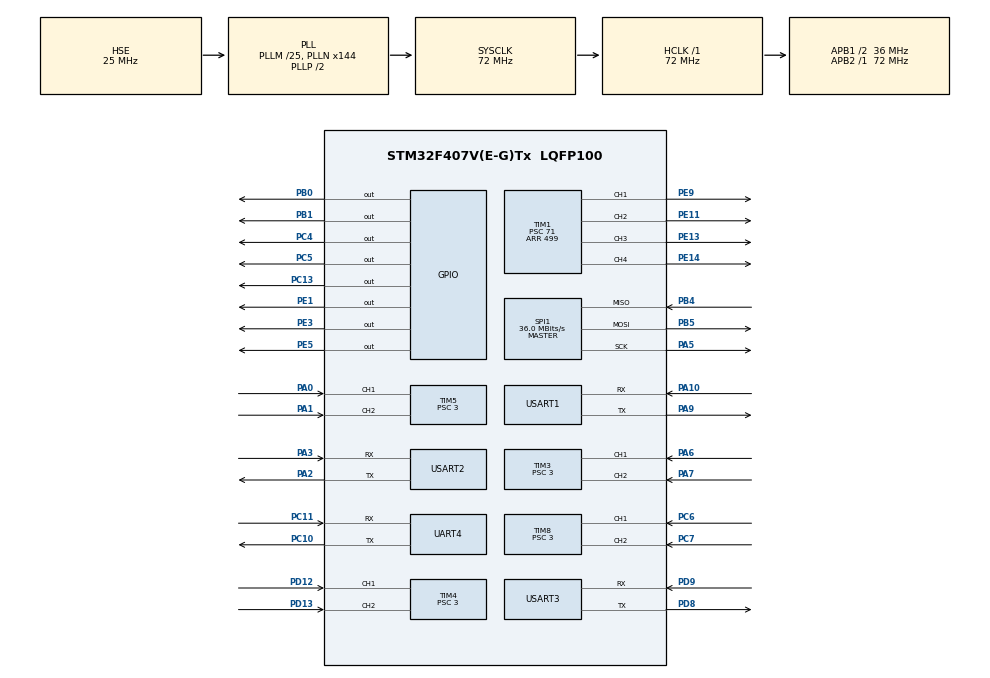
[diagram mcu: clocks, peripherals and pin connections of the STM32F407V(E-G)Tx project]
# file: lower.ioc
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Mcu.Family=STM32F4
Mcu.Name=STM32F407V(E-G)Tx
Mcu.Package=LQFP100
NVIC.PriorityGroup=NVIC_PRIORITYGROUP_4
NVIC.TIM7_IRQn=true\:0\:0\:false\:false\:true\:true\:true
NVIC.USART1_IRQn=true\:0\:0\:false\:false\:true\:true\:true
PA0-WKUP.Signal=S_TIM5_CH1
PA1.Signal=S_TIM5_CH2
PA10.Mode=Asynchronous
PA10.Signal=USART1_RX
PA13.Mode=Trace_Asynchronous_SW
PA13.Signal=SYS_JTMS-SWDIO
PA14.Mode=Trace_Asynchronous_SW
PA14.Signal=SYS_JTCK-SWCLK
PA2.Mode=Asynchronous
PA2.Signal=USART2_TX
PA3.Mode=Asynchronous
PA3.Signal=USART2_RX
PA5.Mode=Full_Duplex_Master
PA5.Signal=SPI1_SCK
PA6.Signal=S_TIM3_CH1
PA7.Signal=S_TIM3_CH2
PA9.Mode=Asynchronous
PA9.Signal=USART1_TX
PB0.Signal=GPIO_Output
PB1.Signal=GPIO_Output
PB3.Mode=Trace_Asynchronous_SW
PB3.Signal=SYS_JTDO-SWO
PB4.Mode=Full_Duplex_Master
PB4.Signal=SPI1_MISO
PB5.Mode=Full_Duplex_Master
PB5.Signal=SPI1_MOSI
PC10.Mode=Asynchronous
PC10.Signal=UART4_TX
PC11.Mode=Asynchronous
PC11.Signal=UART4_RX
PC13-ANTI_TAMP.Signal=GPIO_Output
PC14-OSC32_IN.Mode=LSE-External-Oscillator
PC14-OSC32_IN.Signal=RCC_OSC32_IN
PC15-OSC32_OUT.Mode=LSE-External-Oscillator
PC15-OSC32_OUT.Signal=RCC_OSC32_OUT
PC4.Signal=GPIO_Output
PC5.Signal=GPIO_Output
PC6.Signal=S_TIM8_CH1
PC7.Signal=S_TIM8_CH2
PD12.Signal=S_TIM4_CH1
PD13.Signal=S_TIM4_CH2
PD8.Mode=Asynchronous
PD8.Signal=USART3_TX
PD9.Mode=Asynchronous
PD9.Signal=USART3_RX
PE1.Signal=GPIO_Output
PE11.Signal=S_TIM1_CH2
PE13.Signal=S_TIM1_CH3
PE14.Signal=S_TIM1_CH4
PE3.Signal=GPIO_Output
PE5.Signal=GPIO_Output
PE9.Signal=S_TIM1_CH1
PH0-OSC_IN.Mode=HSE-External-Oscillator
PH0-OSC_IN.Signal=RCC_OSC_IN
PH1-OSC_OUT.Mode=HSE-External-Oscillator
PH1-OSC_OUT.Signal=RCC_OSC_OUT
ProjectManager.HeapSize=0x200
ProjectManager.StackSize=0x400
ProjectManager.TargetToolchain=MDK-ARM V5
RCC.48MHZClocksFreq_Value=36000000
RCC.AHBFreq_Value=72000000
RCC.APB1CLKDivider=RCC_HCLK_DIV2
RCC.APB1Freq_Value=36000000
RCC.APB1TimFreq_Value=72000000
RCC.APB2Freq_Value=72000000
RCC.APB2TimFreq_Value=72000000
RCC.CortexFreq_Value=72000000
RCC.HCLKFreq_Value=72000000
RCC.HSE_VALUE=25000000
RCC.HSI_VALUE=16000000
RCC.PLLM=25
RCC.PLLN=144
RCC.PLLSourceVirtual=RCC_PLLSOURCE_HSE
RCC.SYSCLKFreq_VALUE=72000000
RCC.SYSCLKSource=RCC_SYSCLKSOURCE_PLLCLK
RCC.VCOOutputFreq_Value=144000000
SH.S_TIM1_CH1.0=TIM1_CH1,PWM Generation1 CH1
SH.S_TIM1_CH2.0=TIM1_CH2,PWM Generation2 CH2
SH.S_TIM1_CH3.0=TIM1_CH3,PWM Generation3 CH3
SH.S_TIM1_CH4.0=TIM1_CH4,PWM Generation4 CH4
SH.S_TIM3_CH1.0=TIM3_CH1,Encoder_Interface
SH.S_TIM3_CH2.0=TIM3_CH2,Encoder_Interface
SH.S_TIM4_CH1.0=TIM4_CH1,Encoder_Interface
SH.S_TIM4_CH2.0=TIM4_CH2,Encoder_Interface
SH.S_TIM5_CH1.0=TIM5_CH1,Encoder_Interface
SH.S_TIM5_CH2.0=TIM5_CH2,Encoder_Interface
SH.S_TIM8_CH1.0=TIM8_CH1,Encoder_Interface
SH.S_TIM8_CH2.0=TIM8_CH2,Encoder_Interface
SPI1.BaudRatePrescaler=SPI_BAUDRATEPRESCALER_2
SPI1.CalculateBaudRate=36.0 MBits/s
SPI1.Direction=SPI_DIRECTION_2LINES
SPI1.Mode=SPI_MODE_MASTER
SPI1.VirtualType=VM_MASTER
TIM1.Channel-PWM\ Generation1\ CH1=TIM_CHANNEL_1
TIM1.Channel-PWM\ Generation2\ CH2=TIM_CHANNEL_2
TIM1.Channel-PWM\ Generation3\ CH3=TIM_CHANNEL_3
TIM1.Channel-PWM\ Generation4\ CH4=TIM_CHANNEL_4
TIM1.Period=499
TIM1.Prescaler=71
TIM3.EncoderMode=TIM_ENCODERMODE_TI12
TIM3.IC1Filter=10
TIM3.IC2Filter=10
TIM3.Period=0xffff
TIM3.Prescaler=3
TIM4.EncoderMode=TIM_ENCODERMODE_TI12
TIM4.IC1Filter=10
TIM4.IC2Filter=10
TIM4.Period=0xffff
TIM4.Prescaler=3
TIM5.EncoderMode=TIM_ENCODERMODE_TI12
TIM5.IC1Filter=10
TIM5.IC2Filter=10
TIM5.Period=0xffff
TIM5.Prescaler=3
TIM6.Prescaler=512
TIM7.Prescaler=1024
TIM8.EncoderMode=TIM_ENCODERMODE_TI12
TIM8.IC1Filter=10
TIM8.IC2Filter=10
TIM8.Period=0xffff
TIM8.Prescaler=3
UART4.VirtualMode=Asynchronous
USART1.VirtualMode=VM_ASYNC
USART2.VirtualMode=VM_ASYNC
USART3.VirtualMode=VM_ASYNC
VP_TIM1_VS_ClockSourceINT.Mode=Internal
VP_TIM2_VS_ClockSourceINT.Mode=Internal
VP_TIM6_VS_ClockSourceINT.Mode=Enable_Timer
VP_TIM7_VS_ClockSourceINT.Mode=Enable_Timer
board=custom

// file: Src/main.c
/* USER CODE BEGIN Header */
/**
  ******************************************************************************
  * @file           : main.c
  * @brief          : Main program body
  ******************************************************************************
  * @attention
  *
  * <h2><center>&copy; Copyright (c) 2020 STMicroelectronics.
  * All rights reserved.</center></h2>
  *
  * This software component is licensed by ST under BSD 3-Clause license,
  * the "License"; You may not use this file except in compliance with the
  * License. You may obtain a copy of the License at:
  *                        opensource.org/licenses/BSD-3-Clause
  *
  ******************************************************************************
  */
/* USER CODE END Header */

#include "main.h"

/* USER CODE BEGIN Includes */
#include "motordriver.h"
#include "botmotor.h"
#include "serialsend.h"
/* USER CODE END Includes */

SPI_HandleTypeDef hspi1;

TIM_HandleTypeDef htim1;
TIM_HandleTypeDef htim2;
TIM_HandleTypeDef htim3;
TIM_HandleTypeDef htim4;
TIM_HandleTypeDef htim5;
TIM_HandleTypeDef htim6;
TIM_HandleTypeDef htim7;
TIM_HandleTypeDef htim8;

UART_HandleTypeDef huart4;
UART_HandleTypeDef huart1;
UART_HandleTypeDef huart2;
UART_HandleTypeDef huart3;

/* USER CODE BEGIN PV */
char usartRVBuff;

/* USER CODE END PV */

void SystemClock_Config(void);
static void MX_GPIO_Init(void);
static void MX_TIM3_Init(void);
static void MX_TIM4_Init(void);
static void MX_TIM5_Init(void);
static void MX_TIM8_Init(void);
static void MX_USART1_UART_Init(void);
static void MX_USART2_UART_Init(void);
static void MX_USART3_UART_Init(void);
static void MX_SPI1_Init(void);
static void MX_TIM1_Init(void);
static void MX_TIM2_Init(void);
static void MX_TIM7_Init(void);
static void MX_UART4_Init(void);
static void MX_TIM6_Init(void);

int main(void)
{

  /* MCU Configuration--------------------------------------------------------*/

  /* Reset of all peripherals, Initializes the Flash interface and the Systick. */
  HAL_Init();

  /* Configure the system clock */
  SystemClock_Config();

  /* Initialize all configured peripherals */
  MX_GPIO_Init();
  MX_TIM3_Init();
  MX_TIM4_Init();
  MX_TIM5_Init();
  MX_TIM8_Init();
  MX_USART1_UART_Init();
  MX_USART2_UART_Init();
  MX_USART3_UART_Init();
  MX_SPI1_Init();
  MX_TIM1_Init();
  MX_TIM2_Init();
  MX_TIM7_Init();
  MX_UART4_Init();
  MX_TIM6_Init();

  /* Infinite loop */
  /* USER CODE BEGIN WHILE */
	HAL_UART_Receive_IT(&huart1,&usartRVBuff, 1);
	HAL_TIM_Encoder_Start(&htim3, TIM_CHANNEL_ALL);
	HAL_TIM_Encoder_Start(&htim4, TIM_CHANNEL_ALL);
	HAL_TIM_Encoder_Start(&htim5, TIM_CHANNEL_ALL);
	HAL_TIM_Encoder_Start(&htim8, TIM_CHANNEL_ALL);

  HAL_TIM_PWM_Start(&htim1,TIM_CHANNEL_1);
	HAL_TIM_PWM_Start(&htim1,TIM_CHANNEL_2);
	HAL_TIM_PWM_Start(&htim1,TIM_CHANNEL_3);
	HAL_TIM_PWM_Start(&htim1,TIM_CHANNEL_4);

	MotorSpeed speed = {0,0,0,0};
	setTargetSpeed_BotMotor(BOTMOTOR,&speed);

  while (1)
  {
    /* USER CODE END WHILE */

    /* USER CODE BEGIN 3 */
		TIMSampleHander(BOTMOTOR,0.1);
		TIMMotorDriverHander();
		TIMSerialSendHander();
		HAL_Delay(100);
	}
  /* USER CODE END 3 */
}

void SystemClock_Config(void)
{
  RCC_OscInitTypeDef RCC_OscInitStruct = {0};
  RCC_ClkInitTypeDef RCC_ClkInitStruct = {0};

  /** Configure the main internal regulator output voltage
  */
  __HAL_RCC_PWR_CLK_ENABLE();
  __HAL_PWR_VOLTAGESCALING_CONFIG(PWR_REGULATOR_VOLTAGE_SCALE1);
  /** Initializes the CPU, AHB and APB busses clocks
  */
  RCC_OscInitStruct.OscillatorType = RCC_OSCILLATORTYPE_HSE;
  RCC_OscInitStruct.HSEState = RCC_HSE_ON;
  RCC_OscInitStruct.PLL.PLLState = RCC_PLL_ON;
  RCC_OscInitStruct.PLL.PLLSource = RCC_PLLSOURCE_HSE;
  RCC_OscInitStruct.PLL.PLLM = 25;
  RCC_OscInitStruct.PLL.PLLN = 144;
  RCC_OscInitStruct.PLL.PLLP = RCC_PLLP_DIV2;
  RCC_OscInitStruct.PLL.PLLQ = 4;
  if (HAL_RCC_OscConfig(&RCC_OscInitStruct) != HAL_OK)
  {
    Error_Handler();
  }
  /** Initializes the CPU, AHB and APB busses clocks
  */
  RCC_ClkInitStruct.ClockType = RCC_CLOCKTYPE_HCLK|RCC_CLOCKTYPE_SYSCLK
                              |RCC_CLOCKTYPE_PCLK1|RCC_CLOCKTYPE_PCLK2;
  RCC_ClkInitStruct.SYSCLKSource = RCC_SYSCLKSOURCE_PLLCLK;
  RCC_ClkInitStruct.AHBCLKDivider = RCC_SYSCLK_DIV1;
  RCC_ClkInitStruct.APB1CLKDivider = RCC_HCLK_DIV2;
  RCC_ClkInitStruct.APB2CLKDivider = RCC_HCLK_DIV1;

  if (HAL_RCC_ClockConfig(&RCC_ClkInitStruct, FLASH_LATENCY_2) != HAL_OK)
  {
    Error_Handler();
  }
}

static void MX_SPI1_Init(void)
{

  /* SPI1 parameter configuration*/
  hspi1.Instance = SPI1;
  hspi1.Init.Mode = SPI_MODE_MASTER;
  hspi1.Init.Direction = SPI_DIRECTION_2LINES;
  hspi1.Init.DataSize = SPI_DATASIZE_8BIT;
  hspi1.Init.CLKPolarity = SPI_POLARITY_LOW;
  hspi1.Init.CLKPhase = SPI_PHASE_1EDGE;
  hspi1.Init.NSS = SPI_NSS_SOFT;
  hspi1.Init.BaudRatePrescaler = SPI_BAUDRATEPRESCALER_2;
  hspi1.Init.FirstBit = SPI_FIRSTBIT_MSB;
  hspi1.Init.TIMode = SPI_TIMODE_DISABLE;
  hspi1.Init.CRCCalculation = SPI_CRCCALCULATION_DISABLE;
  hspi1.Init.CRCPolynomial = 10;
  if (HAL_SPI_Init(&hspi1) != HAL_OK)
  {
    Error_Handler();
  }

}

static void MX_TIM1_Init(void)
{

  TIM_ClockConfigTypeDef sClockSourceConfig = {0};
  TIM_MasterConfigTypeDef sMasterConfig = {0};
  TIM_OC_InitTypeDef sConfigOC = {0};
  TIM_BreakDeadTimeConfigTypeDef sBreakDeadTimeConfig = {0};

  htim1.Instance = TIM1;
  htim1.Init.Prescaler = 71;
  htim1.Init.CounterMode = TIM_COUNTERMODE_UP;
  htim1.Init.Period = 499;
  htim1.Init.ClockDivision = TIM_CLOCKDIVISION_DIV1;
  htim1.Init.RepetitionCounter = 0;
  htim1.Init.AutoReloadPreload = TIM_AUTORELOAD_PRELOAD_DISABLE;
  if (HAL_TIM_Base_Init(&htim1) != HAL_OK)
  {
    Error_Handler();
  }
  sClockSourceConfig.ClockSource = TIM_CLOCKSOURCE_INTERNAL;
  if (HAL_TIM_ConfigClockSource(&htim1, &sClockSourceConfig) != HAL_OK)
  {
    Error_Handler();
  }
  if (HAL_TIM_PWM_Init(&htim1) != HAL_OK)
  {
    Error_Handler();
  }
  sMasterConfig.MasterOutputTrigger = TIM_TRGO_RESET;
  sMasterConfig.MasterSlaveMode = TIM_MASTERSLAVEMODE_DISABLE;
  if (HAL_TIMEx_MasterConfigSynchronization(&htim1, &sMasterConfig) != HAL_OK)
  {
    Error_Handler();
  }
  sConfigOC.OCMode = TIM_OCMODE_PWM1;
  sConfigOC.Pulse = 0;
  sConfigOC.OCPolarity = TIM_OCPOLARITY_HIGH;
  sConfigOC.OCNPolarity = TIM_OCNPOLARITY_HIGH;
  sConfigOC.OCFastMode = TIM_OCFAST_DISABLE;
  sConfigOC.OCIdleState = TIM_OCIDLESTATE_RESET;
  sConfigOC.OCNIdleState = TIM_OCNIDLESTATE_RESET;
  if (HAL_TIM_PWM_ConfigChannel(&htim1, &sConfigOC, TIM_CHANNEL_1) != HAL_OK)
  {
    Error_Handler();
  }
  if (HAL_TIM_PWM_ConfigChannel(&htim1, &sConfigOC, TIM_CHANNEL_2) != HAL_OK)
  {
    Error_Handler();
  }
  if (HAL_TIM_PWM_ConfigChannel(&htim1, &sConfigOC, TIM_CHANNEL_3) != HAL_OK)
  {
    Error_Handler();
  }
  if (HAL_TIM_PWM_ConfigChannel(&htim1, &sConfigOC, TIM_CHANNEL_4) != HAL_OK)
  {
    Error_Handler();
  }
  sBreakDeadTimeConfig.OffStateRunMode = TIM_OSSR_DISABLE;
  sBreakDeadTimeConfig.OffStateIDLEMode = TIM_OSSI_DISABLE;
  sBreakDeadTimeConfig.LockLevel = TIM_LOCKLEVEL_OFF;
  sBreakDeadTimeConfig.DeadTime = 0;
  sBreakDeadTimeConfig.BreakState = TIM_BREAK_DISABLE;
  sBreakDeadTimeConfig.BreakPolarity = TIM_BREAKPOLARITY_HIGH;
  sBreakDeadTimeConfig.AutomaticOutput = TIM_AUTOMATICOUTPUT_DISABLE;
  if (HAL_TIMEx_ConfigBreakDeadTime(&htim1, &sBreakDeadTimeConfig) != HAL_OK)
  {
    Error_Handler();
  }
  HAL_TIM_MspPostInit(&htim1);

}

static void MX_TIM2_Init(void)
{

  TIM_ClockConfigTypeDef sClockSourceConfig = {0};
  TIM_MasterConfigTypeDef sMasterConfig = {0};

  htim2.Instance = TIM2;
  htim2.Init.Prescaler = 0;
  htim2.Init.CounterMode = TIM_COUNTERMODE_UP;
  htim2.Init.Period = 0;
  htim2.Init.ClockDivision = TIM_CLOCKDIVISION_DIV1;
  htim2.Init.AutoReloadPreload = TIM_AUTORELOAD_PRELOAD_DISABLE;
  if (HAL_TIM_Base_Init(&htim2) != HAL_OK)
  {
    Error_Handler();
  }
  sClockSourceConfig.ClockSource = TIM_CLOCKSOURCE_INTERNAL;
  if (HAL_TIM_ConfigClockSource(&htim2, &sClockSourceConfig) != HAL_OK)
  {
    Error_Handler();
  }
  sMasterConfig.MasterOutputTrigger = TIM_TRGO_RESET;
  sMasterConfig.MasterSlaveMode = TIM_MASTERSLAVEMODE_DISABLE;
  if (HAL_TIMEx_MasterConfigSynchronization(&htim2, &sMasterConfig) != HAL_OK)
  {
    Error_Handler();
  }

}

static void MX_TIM3_Init(void)
{

  TIM_Encoder_InitTypeDef sConfig = {0};
  TIM_MasterConfigTypeDef sMasterConfig = {0};

  htim3.Instance = TIM3;
  htim3.Init.Prescaler = 3;
  htim3.Init.CounterMode = TIM_COUNTERMODE_UP;
  htim3.Init.Period = 0xffff;
  htim3.Init.ClockDivision = TIM_CLOCKDIVISION_DIV1;
  htim3.Init.AutoReloadPreload = TIM_AUTORELOAD_PRELOAD_DISABLE;
  sConfig.EncoderMode = TIM_ENCODERMODE_TI12;
  sConfig.IC1Polarity = TIM_ICPOLARITY_RISING;
  sConfig.IC1Selection = TIM_ICSELECTION_DIRECTTI;
  sConfig.IC1Prescaler = TIM_ICPSC_DIV1;
  sConfig.IC1Filter = 10;
  sConfig.IC2Polarity = TIM_ICPOLARITY_RISING;
  sConfig.IC2Selection = TIM_ICSELECTION_DIRECTTI;
  sConfig.IC2Prescaler = TIM_ICPSC_DIV1;
  sConfig.IC2Filter = 10;
  if (HAL_TIM_Encoder_Init(&htim3, &sConfig) != HAL_OK)
  {
    Error_Handler();
  }
  sMasterConfig.MasterOutputTrigger = TIM_TRGO_RESET;
  sMasterConfig.MasterSlaveMode = TIM_MASTERSLAVEMODE_DISABLE;
  if (HAL_TIMEx_MasterConfigSynchronization(&htim3, &sMasterConfig) != HAL_OK)
  {
    Error_Handler();
  }

}

static void MX_TIM4_Init(void)
{

  TIM_Encoder_InitTypeDef sConfig = {0};
  TIM_MasterConfigTypeDef sMasterConfig = {0};

  htim4.Instance = TIM4;
  htim4.Init.Prescaler = 3;
  htim4.Init.CounterMode = TIM_COUNTERMODE_UP;
  htim4.Init.Period = 0xffff;
  htim4.Init.ClockDivision = TIM_CLOCKDIVISION_DIV1;
  htim4.Init.AutoReloadPreload = TIM_AUTORELOAD_PRELOAD_DISABLE;
  sConfig.EncoderMode = TIM_ENCODERMODE_TI12;
  sConfig.IC1Polarity = TIM_ICPOLARITY_RISING;
  sConfig.IC1Selection = TIM_ICSELECTION_DIRECTTI;
  sConfig.IC1Prescaler = TIM_ICPSC_DIV1;
  sConfig.IC1Filter = 10;
  sConfig.IC2Polarity = TIM_ICPOLARITY_RISING;
  sConfig.IC2Selection = TIM_ICSELECTION_DIRECTTI;
  sConfig.IC2Prescaler = TIM_ICPSC_DIV1;
  sConfig.IC2Filter = 10;
  if (HAL_TIM_Encoder_Init(&htim4, &sConfig) != HAL_OK)
  {
    Error_Handler();
  }
  sMasterConfig.MasterOutputTrigger = TIM_TRGO_RESET;
  sMasterConfig.MasterSlaveMode = TIM_MASTERSLAVEMODE_DISABLE;
  if (HAL_TIMEx_MasterConfigSynchronization(&htim4, &sMasterConfig) != HAL_OK)
  {
    Error_Handler();
  }

}

static void MX_TIM5_Init(void)
{

  TIM_Encoder_InitTypeDef sConfig = {0};
  TIM_MasterConfigTypeDef sMasterConfig = {0};

  htim5.Instance = TIM5;
  htim5.Init.Prescaler = 3;
  htim5.Init.CounterMode = TIM_COUNTERMODE_UP;
  htim5.Init.Period = 0xffff;
  htim5.Init.ClockDivision = TIM_CLOCKDIVISION_DIV1;
  htim5.Init.AutoReloadPreload = TIM_AUTORELOAD_PRELOAD_DISABLE;
  sConfig.EncoderMode = TIM_ENCODERMODE_TI12;
  sConfig.IC1Polarity = TIM_ICPOLARITY_RISING;
  sConfig.IC1Selection = TIM_ICSELECTION_DIRECTTI;
  sConfig.IC1Prescaler = TIM_ICPSC_DIV1;
  sConfig.IC1Filter = 10;
  sConfig.IC2Polarity = TIM_ICPOLARITY_RISING;
  sConfig.IC2Selection = TIM_ICSELECTION_DIRECTTI;
  sConfig.IC2Prescaler = TIM_ICPSC_DIV1;
  sConfig.IC2Filter = 10;
  if (HAL_TIM_Encoder_Init(&htim5, &sConfig) != HAL_OK)
  {
    Error_Handler();
  }
  sMasterConfig.MasterOutputTrigger = TIM_TRGO_RESET;
  sMasterConfig.MasterSlaveMode = TIM_MASTERSLAVEMODE_DISABLE;
  if (HAL_TIMEx_MasterConfigSynchronization(&htim5, &sMasterConfig) != HAL_OK)
  {
    Error_Handler();
  }

}

static void MX_TIM6_Init(void)
{

  TIM_MasterConfigTypeDef sMasterConfig = {0};

  htim6.Instance = TIM6;
  htim6.Init.Prescaler = 512;
  htim6.Init.CounterMode = TIM_COUNTERMODE_UP;
  htim6.Init.Period = 0;
  htim6.Init.AutoReloadPreload = TIM_AUTORELOAD_PRELOAD_DISABLE;
  if (HAL_TIM_Base_Init(&htim6) != HAL_OK)
  {
    Error_Handler();
  }
  sMasterConfig.MasterOutputTrigger = TIM_TRGO_RESET;
  sMasterConfig.MasterSlaveMode = TIM_MASTERSLAVEMODE_DISABLE;
  if (HAL_TIMEx_MasterConfigSynchronization(&htim6, &sMasterConfig) != HAL_OK)
  {
    Error_Handler();
  }

}

static void MX_TIM7_Init(void)
{

  TIM_MasterConfigTypeDef sMasterConfig = {0};

  htim7.Instance = TIM7;
  htim7.Init.Prescaler = 1024;
  htim7.Init.CounterMode = TIM_COUNTERMODE_UP;
  htim7.Init.Period = 0;
  htim7.Init.AutoReloadPreload = TIM_AUTORELOAD_PRELOAD_DISABLE;
  if (HAL_TIM_Base_Init(&htim7) != HAL_OK)
  {
    Error_Handler();
  }
  sMasterConfig.MasterOutputTrigger = TIM_TRGO_RESET;
  sMasterConfig.MasterSlaveMode = TIM_MASTERSLAVEMODE_DISABLE;
  if (HAL_TIMEx_MasterConfigSynchronization(&htim7, &sMasterConfig) != HAL_OK)
  {
    Error_Handler();
  }

}

static void MX_TIM8_Init(void)
{

  TIM_Encoder_InitTypeDef sConfig = {0};
  TIM_MasterConfigTypeDef sMasterConfig = {0};

  htim8.Instance = TIM8;
  htim8.Init.Prescaler = 3;
  htim8.Init.CounterMode = TIM_COUNTERMODE_UP;
  htim8.Init.Period = 0xffff;
  htim8.Init.ClockDivision = TIM_CLOCKDIVISION_DIV1;
  htim8.Init.RepetitionCounter = 0;
  htim8.Init.AutoReloadPreload = TIM_AUTORELOAD_PRELOAD_DISABLE;
  sConfig.EncoderMode = TIM_ENCODERMODE_TI12;
  sConfig.IC1Polarity = TIM_ICPOLARITY_RISING;
  sConfig.IC1Selection = TIM_ICSELECTION_DIRECTTI;
  sConfig.IC1Prescaler = TIM_ICPSC_DIV1;
  sConfig.IC1Filter = 10;
  sConfig.IC2Polarity = TIM_ICPOLARITY_RISING;
  sConfig.IC2Selection = TIM_ICSELECTION_DIRECTTI;
  sConfig.IC2Prescaler = TIM_ICPSC_DIV1;
  sConfig.IC2Filter = 10;
  if (HAL_TIM_Encoder_Init(&htim8, &sConfig) != HAL_OK)
  {
    Error_Handler();
  }
  sMasterConfig.MasterOutputTrigger = TIM_TRGO_RESET;
  sMasterConfig.MasterSlaveMode = TIM_MASTERSLAVEMODE_DISABLE;
  if (HAL_TIMEx_MasterConfigSynchronization(&htim8, &sMasterConfig) != HAL_OK)
  {
    Error_Handler();
  }

}

static void MX_UART4_Init(void)
{

  huart4.Instance = UART4;
  huart4.Init.BaudRate = 115200;
  huart4.Init.WordLength = UART_WORDLENGTH_8B;
  huart4.Init.StopBits = UART_STOPBITS_1;
  huart4.Init.Parity = UART_PARITY_NONE;
  huart4.Init.Mode = UART_MODE_TX_RX;
  huart4.Init.HwFlowCtl = UART_HWCONTROL_NONE;
  huart4.Init.OverSampling = UART_OVERSAMPLING_16;
  if (HAL_UART_Init(&huart4) != HAL_OK)
  {
    Error_Handler();
  }

}

static void MX_USART1_UART_Init(void)
{

  huart1.Instance = USART1;
  huart1.Init.BaudRate = 115200;
  huart1.Init.WordLength = UART_WORDLENGTH_8B;
  huart1.Init.StopBits = UART_STOPBITS_1;
  huart1.Init.Parity = UART_PARITY_NONE;
  huart1.Init.Mode = UART_MODE_TX_RX;
  huart1.Init.HwFlowCtl = UART_HWCONTROL_NONE;
  huart1.Init.OverSampling = UART_OVERSAMPLING_16;
  if (HAL_UART_Init(&huart1) != HAL_OK)
  {
    Error_Handler();
  }

}

static void MX_USART2_UART_Init(void)
{

  huart2.Instance = USART2;
  huart2.Init.BaudRate = 115200;
  huart2.Init.WordLength = UART_WORDLENGTH_8B;
  huart2.Init.StopBits = UART_STOPBITS_1;
  huart2.Init.Parity = UART_PARITY_NONE;
  huart2.Init.Mode = UART_MODE_TX_RX;
  huart2.Init.HwFlowCtl = UART_HWCONTROL_NONE;
  huart2.Init.OverSampling = UART_OVERSAMPLING_16;
  if (HAL_UART_Init(&huart2) != HAL_OK)
  {
    Error_Handler();
  }

}

static void MX_USART3_UART_Init(void)
{

  huart3.Instance = USART3;
  huart3.Init.BaudRate = 115200;
  huart3.Init.WordLength = UART_WORDLENGTH_8B;
  huart3.Init.StopBits = UART_STOPBITS_1;
  huart3.Init.Parity = UART_PARITY_NONE;
  huart3.Init.Mode = UART_MODE_TX_RX;
  huart3.Init.HwFlowCtl = UART_HWCONTROL_NONE;
  huart3.Init.OverSampling = UART_OVERSAMPLING_16;
  if (HAL_UART_Init(&huart3) != HAL_OK)
  {
    Error_Handler();
  }

}

static void MX_GPIO_Init(void)
{
  GPIO_InitTypeDef GPIO_InitStruct = {0};

  /* GPIO Ports Clock Enable */
  __HAL_RCC_GPIOE_CLK_ENABLE();
  __HAL_RCC_GPIOC_CLK_ENABLE();
  __HAL_RCC_GPIOH_CLK_ENABLE();
  __HAL_RCC_GPIOA_CLK_ENABLE();
  __HAL_RCC_GPIOB_CLK_ENABLE();
  __HAL_RCC_GPIOD_CLK_ENABLE();

  /*Configure GPIO pin Output Level */
  HAL_GPIO_WritePin(GPIOE, GPIO_PIN_3|GPIO_PIN_5|GPIO_PIN_1, GPIO_PIN_RESET);

  /*Configure GPIO pin Output Level */
  HAL_GPIO_WritePin(GPIOC, GPIO_PIN_13|GPIO_PIN_4|GPIO_PIN_5, GPIO_PIN_RESET);

  /*Configure GPIO pin Output Level */
  HAL_GPIO_WritePin(GPIOB, GPIO_PIN_0|GPIO_PIN_1, GPIO_PIN_RESET);

  /*Configure GPIO pins : PE3 PE5 PE1 */
  GPIO_InitStruct.Pin = GPIO_PIN_3|GPIO_PIN_5|GPIO_PIN_1;
  GPIO_InitStruct.Mode = GPIO_MODE_OUTPUT_PP;
  GPIO_InitStruct.Pull = GPIO_NOPULL;
  GPIO_InitStruct.Speed = GPIO_SPEED_FREQ_LOW;
  HAL_GPIO_Init(GPIOE, &GPIO_InitStruct);

  /*Configure GPIO pins : PC13 PC4 PC5 */
  GPIO_InitStruct.Pin = GPIO_PIN_13|GPIO_PIN_4|GPIO_PIN_5;
  GPIO_InitStruct.Mode = GPIO_MODE_OUTPUT_PP;
  GPIO_InitStruct.Pull = GPIO_NOPULL;
  GPIO_InitStruct.Speed = GPIO_SPEED_FREQ_LOW;
  HAL_GPIO_Init(GPIOC, &GPIO_InitStruct);

  /*Configure GPIO pins : PB0 PB1 */
  GPIO_InitStruct.Pin = GPIO_PIN_0|GPIO_PIN_1;
  GPIO_InitStruct.Mode = GPIO_MODE_OUTPUT_PP;
  GPIO_InitStruct.Pull = GPIO_NOPULL;
  GPIO_InitStruct.Speed = GPIO_SPEED_FREQ_LOW;
  HAL_GPIO_Init(GPIOB, &GPIO_InitStruct);

}

void Error_Handler(void)
{
}

/************************ (C) COPYRIGHT STMicroelectronics *****END OF FILE****/
